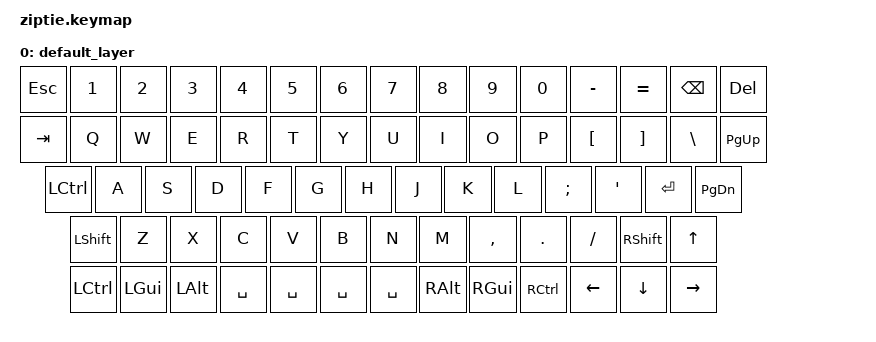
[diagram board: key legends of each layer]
#include <behaviors.dtsi>
#include <dt-bindings/zmk/keys.h>

/ {
    keymap {
        compatible = "zmk,keymap";

        default_layer {
// --------------------------------------------------------------------------------------------------------------------------------------------------------------------
// |   ESC   |   1   |   2   |   3   |   4   |   5   |   6   |   7   |   8   |   9   |   0   |   -   |   =   |      BSPC      |
// |    TAB     |    Q    |    W    |    E    |    R    |    T    |    Y    |    U    |    I    |    O    |    P    |    \    |
// |   CTRL      |    A    |    S    |    D    |    F    |    G    |    H    |    J    |    K    |    L    |    ;    |  ENTER |
// |   SHIFT      |    Z    |    X    |    C    |    V    |    B    |    N    |    M    |    ,    |    .    |   /   |  SHIFT  |
// |  CTRL   |   GUI   |   LALT  |  SPACE  |  SPACE  |  SPACE  |  SPACE  |   ALT   |   GUI   |   CTRL  |   BSPC  |  R ALT  |
            bindings = <
            &kp ESC &kp N1 &kp N2 &kp N3 &kp N4 &kp N5 &kp N6 &kp N7 &kp N8 &kp N9 &kp N0 &kp MINUS &kp EQUAL &kp BSPC  &kp DEL
            &kp TAB &kp Q &kp W &kp E &kp R &kp T &kp Y &kp U &kp I &kp O &kp P &kp LBKT &kp RBKT &kp BSLH &kp PAGE_UP
            &kp LCTRL &kp A &kp S &kp D &kp F &kp G &kp H &kp J &kp K &kp L &kp SEMI &kp SQT &kp ENTER &kp PAGE_DOWN
            &kp LSHFT &kp Z &kp X &kp C &kp V &kp B &kp N &kp M &kp COMMA &kp PERIOD &kp SLASH &kp RSHFT &kp UP_ARROW
            &kp LCTRL &kp LGUI &kp LALT &kp SPACE &kp SPACE &kp SPACE &kp SPACE &kp RALT &kp RGUI &kp RCTRL &kp LEFT_ARROW &kp DOWN_ARROW &kp RIGHT_ARROW
            >;

            //sensor-bindings = <&inc_dec_kp C_VOL_UP C_VOL_DN &inc_dec_kp PG_UP PG_DN>;
        };
    };
};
